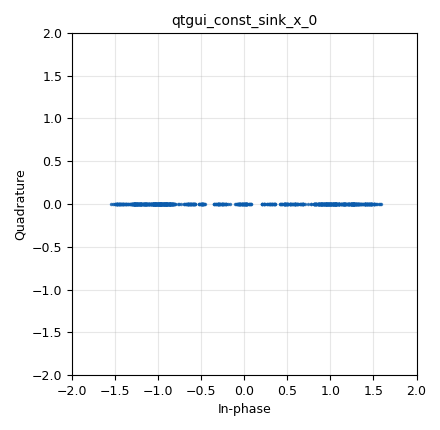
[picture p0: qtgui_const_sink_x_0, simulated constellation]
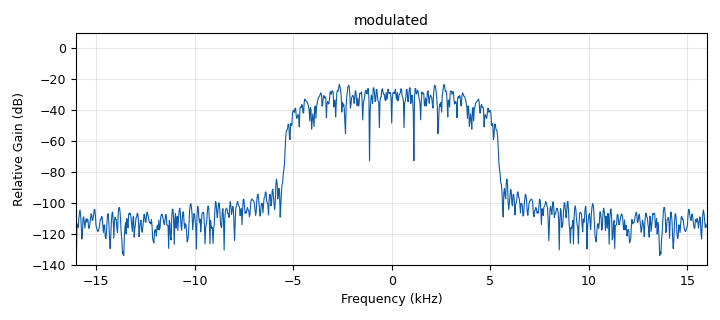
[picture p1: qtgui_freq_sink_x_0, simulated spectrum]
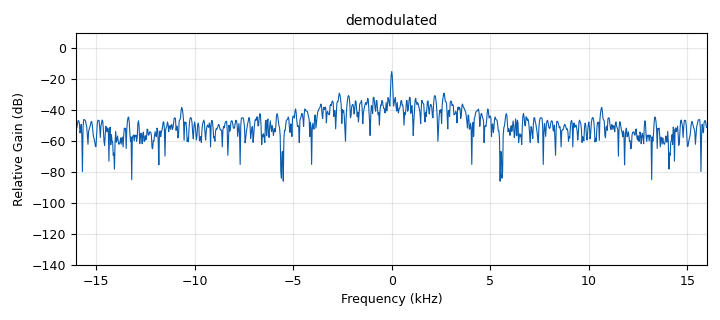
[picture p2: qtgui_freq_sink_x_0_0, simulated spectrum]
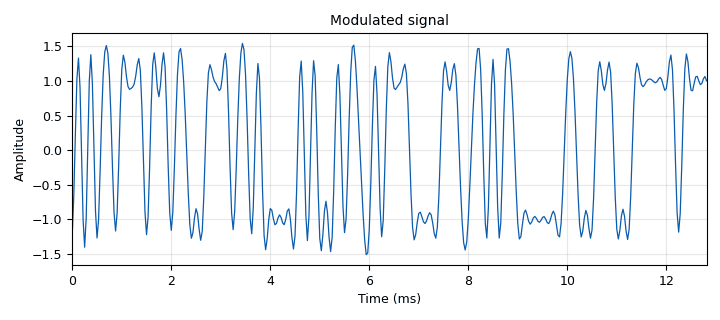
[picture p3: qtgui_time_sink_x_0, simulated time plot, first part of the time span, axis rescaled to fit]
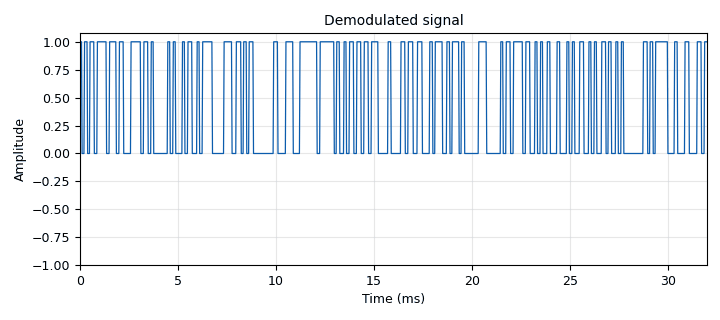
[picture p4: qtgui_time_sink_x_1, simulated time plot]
options:
  parameters:
    generate_options: qt_gui
    id: q2
    output_language: python
    title: Not titled yet
  states: {}

blocks:
- name: bpsk
  id: variable_constellation
  parameters:
    precision: '8'
    type: bpsk
  states: {}
- name: noise_volt
  id: variable_qtgui_range
  parameters:
    gui_hint: 0,0,1,1
    label: Noise Voltage
    start: '0'
    step: '0.01'
    stop: '5'
    value: '0.0001'
  states: {}
- name: samp_rate
  id: variable
  parameters:
    value: '32000'
  states: {}
- name: analog_random_source_x_0
  id: analog_random_source_x
  parameters:
    max: '256'
    min: '0'
    num_samps: '1024'
    repeat: 'True'
    type: byte
  states: {}
- name: blocks_char_to_float_0
  id: blocks_char_to_float
  parameters:
    scale: '1'
  states: {}
- name: blocks_complex_to_float_0
  id: blocks_complex_to_float
  parameters: {}
  states: {}
- name: channels_channel_model_0
  id: channels_channel_model
  parameters:
    epsilon: '1.0'
    freq_offset: '0.0'
    noise_voltage: noise_volt
    seed: '0'
    taps: '1.0'
  states: {}
- name: digital_constellation_decoder_cb_0
  id: digital_constellation_decoder_cb
  parameters:
    constellation: bpsk
  states: {}
- name: digital_constellation_modulator_0
  id: digital_constellation_modulator
  parameters:
    constellation: bpsk
    differential: 'False'
    excess_bw: '0.35'
    samples_per_symbol: '4'
  states: {}
- name: qtgui_const_sink_x_0
  id: qtgui_const_sink_x
  parameters:
    size: '1024'
    type: complex
  states: {}
- name: qtgui_freq_sink_x_0
  id: qtgui_freq_sink_x
  parameters:
    bw: samp_rate
    fc: '0'
    fftsize: '1024'
    name: '"modulated"'
    type: float
  states: {}
- name: qtgui_freq_sink_x_0_0
  id: qtgui_freq_sink_x
  parameters:
    bw: samp_rate
    fc: '0'
    fftsize: '1024'
    name: '"demodulated"'
    type: float
  states: {}
- name: qtgui_time_sink_x_0
  id: qtgui_time_sink_x
  parameters:
    ctrlpanel: 'True'
    name: '"Modulated signal"'
    size: '1024'
    srate: samp_rate
    type: float
  states: {}
- name: qtgui_time_sink_x_1
  id: qtgui_time_sink_x
  parameters:
    ctrlpanel: 'True'
    name: '"Demodulated signal"'
    size: '1024'
    srate: samp_rate
    type: float
  states: {}
- name: virtual_sink_0
  id: virtual_sink
  parameters:
    stream_id: bpsk_tx
  states: {}
- name: virtual_source_0
  id: virtual_source
  parameters:
    stream_id: bpsk_tx
  states: {}

connections:
- [analog_random_source_x_0, '0', digital_constellation_modulator_0, '0']
- [blocks_char_to_float_0, '0', qtgui_freq_sink_x_0_0, '0']
- [blocks_char_to_float_0, '0', qtgui_time_sink_x_1, '0']
- [blocks_complex_to_float_0, '0', qtgui_freq_sink_x_0, '0']
- [blocks_complex_to_float_0, '0', qtgui_time_sink_x_0, '0']
- [channels_channel_model_0, '0', digital_constellation_decoder_cb_0, '0']
- [digital_constellation_decoder_cb_0, '0', blocks_char_to_float_0, '0']
- [digital_constellation_modulator_0, '0', blocks_complex_to_float_0, '0']
- [digital_constellation_modulator_0, '0', qtgui_const_sink_x_0, '0']
- [digital_constellation_modulator_0, '0', virtual_sink_0, '0']
- [virtual_source_0, '0', channels_channel_model_0, '0']

metadata:
  file_format: 1
  grc_version: 3.10.9.2
